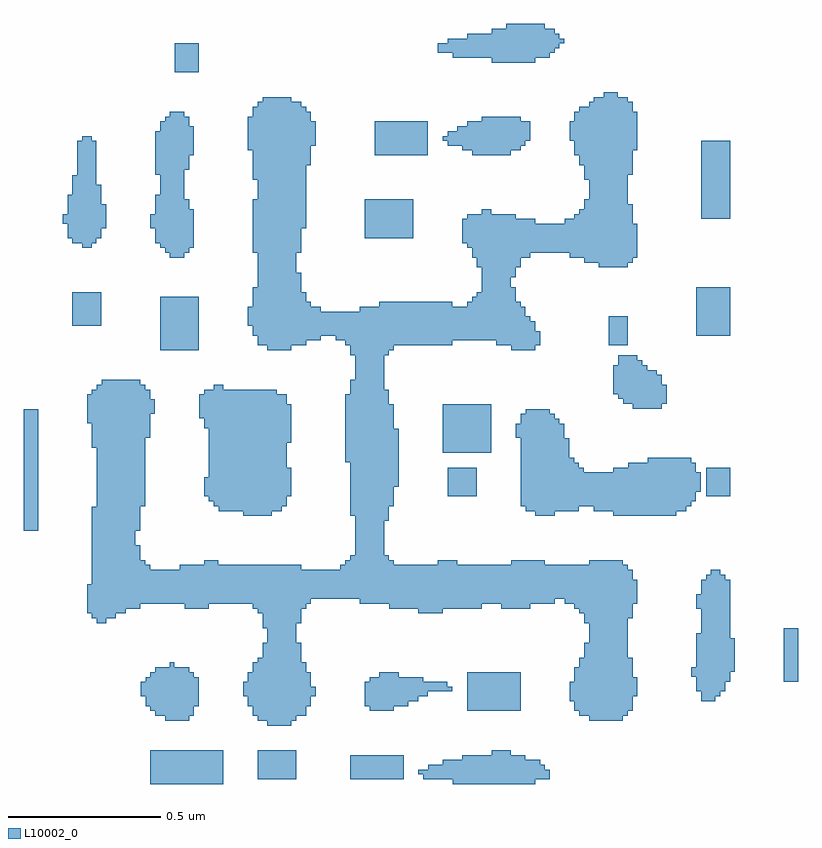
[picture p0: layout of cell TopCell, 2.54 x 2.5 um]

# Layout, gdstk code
import gdstk
lib = gdstk.Library(unit=1e-6, precision=1e-09)
def R(c, l, rs):  # rectangles x0, y0, x1, y1
    for r in rs: c.add(gdstk.rectangle(r[:2], r[2:], *l))
L10002_0 = (10002, 0)

topcell = lib.new_cell('TopCell')
R(topcell, L10002_0, [(1.44,1.024,1.679,1.135), (2.432,1.024,2.703,1.103), (1.792,1.04,1.919,1.135), (2.096,1.04,2.271,1.119), (2.336,1.04,2.432,1.071), (2.703,1.04,2.719,1.103), (2.719,1.04,2.735,1.087), (2.735,1.04,2.751,1.071), (2.32,1.056,2.336,1.071), (2.352,1.071,2.432,1.087), (2.4,1.087,2.432,1.103), (2.464,1.103,2.671,1.119), (2.56,1.119,2.623,1.135), (1.824,1.216,1.903,1.743), (1.488,1.232,1.567,1.407), (1.792,1.232,1.824,1.439), (1.903,1.232,1.919,1.743), (2.88,1.232,2.991,1.759), (1.456,1.248,1.488,1.407), (1.567,1.248,1.583,1.391), (1.776,1.248,1.792,1.423), (1.919,1.248,1.935,1.487), (1.935,1.248,1.951,1.423), (2.848,1.248,2.88,1.439), (2.991,1.248,3.007,1.743), (1.44,1.264,1.456,1.391), (2.16,1.264,2.239,1.375), (2.48,1.264,2.655,1.391), (2.832,1.264,2.848,1.407), (3.007,1.264,3.023,1.439), (1.424,1.28,1.44,1.375), (1.583,1.28,1.599,1.375), (1.76,1.28,1.776,1.391), (1.951,1.28,1.967,1.391), (2.144,1.28,2.16,1.359), (2.239,1.28,2.255,1.391), (2.255,1.28,2.287,1.375), (2.287,1.296,2.319,1.375), (2.816,1.296,2.832,1.359), (3.248,1.296,3.295,1.695), (1.408,1.312,1.424,1.359), (1.744,1.312,1.76,1.359), (1.967,1.312,1.983,1.343), (2.319,1.312,2.335,1.375), (2.335,1.312,2.351,1.359), (3.023,1.312,3.039,1.375), (3.295,1.312,3.311,1.727), (2.351,1.328,2.415,1.359), (2.415,1.328,2.431,1.343), (3.232,1.328,3.248,1.519), (3.311,1.328,3.327,1.711), (3.327,1.36,3.343,1.695), (3.52,1.36,3.567,1.535), (2.192,1.375,2.239,1.391), (3.216,1.376,3.232,1.407), (3.343,1.392,3.359,1.503), (1.504,1.407,1.519,1.423), (1.808,1.439,1.824,1.487), (2.864,1.439,2.88,1.487), (1.808,1.536,1.824,1.743), (1.264,1.552,1.295,2.335), (1.919,1.552,1.935,1.743), (2.864,1.552,2.88,1.743), (1.248,1.568,1.264,1.935), (1.295,1.568,1.327,2.351), (3.007,1.568,3.023,1.727), (1.232,1.584,1.248,1.679), (1.327,1.584,1.359,2.351), (1.792,1.584,1.808,1.743), (2.32,1.584,2.399,1.743), (2.848,1.584,2.864,1.743), (1.359,1.6,1.391,2.351), (1.391,1.6,1.407,1.807), (1.552,1.6,1.631,1.743), (1.776,1.6,1.792,1.743), (1.935,1.6,1.951,1.727), (2.224,1.6,2.239,1.759), (2.239,1.6,2.32,1.743), (2.399,1.6,2.447,1.759), (2.447,1.6,2.527,1.743), (2.592,1.6,2.687,1.743), (2.832,1.6,2.848,1.743), (3.232,1.6,3.248,1.647), (1.407,1.616,1.423,1.759), (1.423,1.616,1.439,1.743), (1.439,1.616,1.552,1.727), (1.631,1.616,1.663,1.759), (1.663,1.616,1.776,1.743), (1.951,1.616,1.967,1.727), (2.128,1.616,2.207,2.591), (2.207,1.616,2.223,1.775), (2.223,1.616,2.224,1.759), (2.527,1.616,2.592,1.743), (2.687,1.616,2.735,1.759), (2.735,1.616,2.767,1.743), (2.8,1.616,2.832,1.743), (3.023,1.616,3.039,1.695), (1.967,1.632,2.128,1.727), (2.767,1.632,2.8,1.743), (3.264,1.695,3.295,1.711), (3.28,1.711,3.295,1.727), (1.536,1.727,1.552,1.743), (2.064,1.727,2.128,1.743), (1.616,1.743,1.631,1.759), (2.08,1.743,2.128,1.759), (2.384,1.743,2.399,1.759), (2.624,1.743,2.687,1.759), (2.096,1.759,2.128,1.775), (2.112,1.775,2.128,2.575), (1.024,1.856,1.071,2.255), (1.391,1.856,1.407,2.351), (2.207,1.888,2.223,2.319), (1.744,1.904,1.839,2.319), (2.096,1.904,2.112,2.351), (2.704,1.904,2.751,2.255), (2.751,1.904,2.767,2.239), (2.96,1.904,3.167,2.063), (1.664,1.92,1.679,2.335), (1.679,1.92,1.744,2.319), (1.839,1.92,1.855,2.319), (1.855,1.92,1.871,2.303), (2.672,1.92,2.704,2.255), (2.767,1.92,2.783,2.223), (2.783,1.92,2.799,2.207), (2.799,1.92,2.815,2.159), (2.815,1.92,2.831,2.095), (2.831,1.92,2.847,2.079), (2.896,1.92,2.96,2.047), (3.167,1.92,3.199,2.095), (1.407,1.936,1.423,2.335), (1.648,1.936,1.664,2.335), (1.871,1.936,1.887,2.303), (2.223,1.936,2.239,2.271), (2.656,1.936,2.672,2.239), (2.847,1.936,2.863,2.063), (2.863,1.936,2.896,2.047), (3.199,1.936,3.215,2.095), (1.632,1.952,1.648,2.319), (3.215,1.952,3.231,2.079), (1.616,1.968,1.632,2.031), (1.887,1.968,1.903,2.063), (2.416,1.968,2.511,2.063), (3.264,1.968,3.343,2.063), (3.231,1.984,3.247,2.047), (2.239,2,2.255,2.191), (3.008,2.063,3.167,2.079), (3.072,2.079,3.167,2.095), (2.08,2.08,2.096,2.303), (2.4,2.112,2.559,2.271), (1.248,2.128,1.264,2.319), (1.887,2.144,1.903,2.271), (1.423,2.16,1.439,2.319), (2.64,2.16,2.656,2.207), (1.616,2.192,1.632,2.319), (1.232,2.208,1.248,2.303), (1.6,2.224,1.616,2.303), (1.439,2.24,1.455,2.287), (3.024,2.256,3.039,2.431), (3.039,2.256,3.055,2.415), (3.055,2.256,3.071,2.399), (3.071,2.256,3.103,2.383), (3.103,2.256,3.119,2.367), (2.992,2.272,3.024,2.431), (3.119,2.272,3.135,2.335), (2.976,2.288,2.992,2.431), (2.96,2.304,2.976,2.399), (1.28,2.335,1.295,2.351), (2.096,2.432,2.112,2.575), (2.207,2.432,2.223,2.607), (1.472,2.448,1.599,2.623), (1.824,2.448,1.903,3.279), (2.223,2.448,2.239,2.607), (2.624,2.448,2.639,2.655), (2.639,2.448,2.655,2.607), (2.655,2.448,2.671,2.591), (2.671,2.448,2.687,2.559), (2.687,2.448,2.703,2.543), (1.792,2.464,1.824,3.263), (1.903,2.464,1.919,3.263), (1.919,2.464,1.935,2.703), (1.935,2.464,1.951,2.639), (2.08,2.464,2.096,2.575), (2.239,2.464,2.431,2.607), (2.576,2.464,2.623,2.895), (2.623,2.464,2.624,2.655), (2.703,2.464,2.719,2.511), (2.944,2.464,3.007,2.559), (1.951,2.48,1.967,2.607), (1.967,2.48,1.999,2.591), (2.048,2.48,2.08,2.575), (2.431,2.48,2.576,2.591), (1.776,2.496,1.792,2.655), (1.999,2.496,2.048,2.575), (3.232,2.496,3.343,2.655), (1.184,2.528,1.279,2.639), (1.76,2.528,1.776,2.591), (2.192,2.591,2.207,2.607), (2.48,2.591,2.576,2.607), (2.496,2.607,2.576,2.623), (2.512,2.623,2.576,2.639), (2.528,2.639,2.559,2.911), (2.559,2.639,2.576,2.895), (2.623,2.688,2.639,2.895), (2.512,2.72,2.528,2.895), (2.639,2.72,2.655,2.879), (2.912,2.72,3.007,3.279), (2.864,2.736,2.912,2.943), (3.007,2.736,3.023,2.927), (1.504,2.752,1.551,3.231), (2.496,2.752,2.512,2.895), (2.655,2.752,2.687,2.879), (2.816,2.752,2.864,2.879), (3.023,2.752,3.039,2.863), (1.488,2.768,1.504,3.215), (1.551,2.768,1.567,2.943), (1.776,2.768,1.792,2.943), (1.919,2.768,1.935,3.263), (2.687,2.768,2.703,2.879), (2.703,2.768,2.816,2.863), (1.216,2.784,1.247,3.151), (1.472,2.784,1.488,3.199), (1.567,2.784,1.583,2.911), (2.48,2.784,2.496,2.895), (1.184,2.8,1.216,3.023), (1.247,2.8,1.263,3.135), (1.456,2.8,1.472,2.959), (2.464,2.8,2.48,2.879), (1.168,2.816,1.184,2.959), (1.263,2.816,1.279,2.991), (2.144,2.816,2.303,2.943), (1.279,2.848,1.295,2.927), (1.44,2.848,1.456,2.895), (1.935,2.848,1.951,3.247), (2.8,2.863,2.816,2.879), (1.152,2.864,1.168,2.895), (2.832,2.879,2.864,2.895), (3.248,2.88,3.343,3.135), (2.848,2.895,2.864,2.911), (2.88,2.943,2.912,3.263), (1.776,3.008,1.792,3.247), (2.864,3.008,2.88,3.247), (1.2,3.023,1.216,3.135), (1.456,3.024,1.472,3.167), (3.007,3.024,3.023,3.263), (1.551,3.04,1.567,3.215), (1.951,3.056,1.967,3.231), (2.848,3.056,2.864,3.247), (1.567,3.088,1.583,3.183), (2.176,3.088,2.351,3.199), (2.496,3.088,2.623,3.199), (2.832,3.088,2.848,3.231), (1.76,3.104,1.776,3.215), (2.464,3.104,2.496,3.183), (2.623,3.104,2.655,3.215), (3.023,3.104,3.039,3.231), (1.967,3.12,1.983,3.199), (2.416,3.12,2.464,3.167), (2.655,3.12,2.671,3.199), (2.4,3.136,2.416,3.151), (2.671,3.136,2.687,3.199), (2.816,3.136,2.832,3.199), (2.448,3.167,2.464,3.183), (2.48,3.183,2.496,3.199), (2.528,3.199,2.623,3.215), (1.808,3.263,1.824,3.279), (2.896,3.263,2.912,3.279), (2.928,3.279,2.975,3.295), (1.52,3.36,1.599,3.455), (2.56,3.392,2.703,3.503), (2.432,3.408,2.56,3.471), (2.703,3.408,2.735,3.519), (2.735,3.408,2.751,3.503), (2.384,3.424,2.432,3.455), (2.751,3.424,2.767,3.503), (2.767,3.44,2.783,3.487), (2.416,3.455,2.432,3.471), (2.783,3.456,2.799,3.471), (2.48,3.471,2.56,3.487), (2.608,3.503,2.703,3.519)])

lib.write_gds('TopCell.gds')
